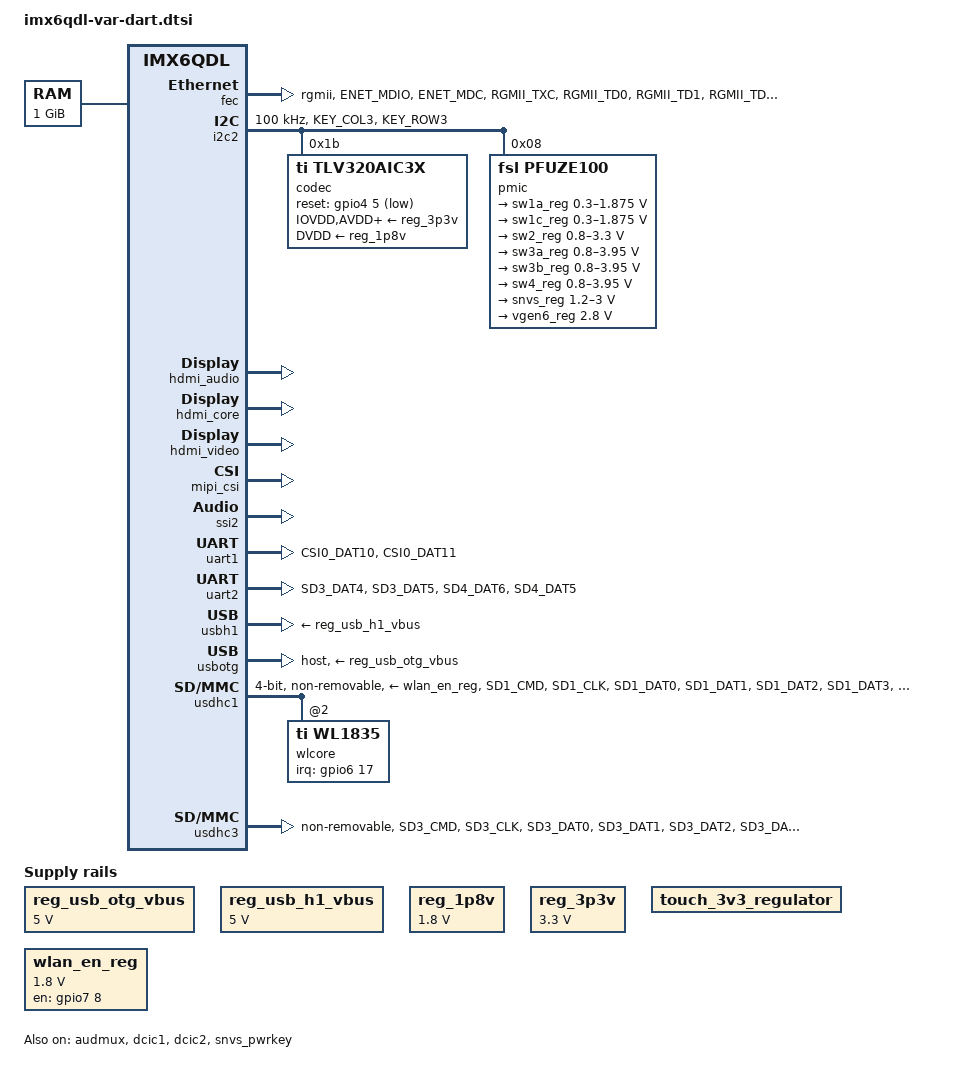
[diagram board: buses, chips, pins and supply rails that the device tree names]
/*
 * Copyright (C) 2015-2017 Variscite Ltd.
 *
 * This program is free software; you can redistribute it and/or modify
 * it under the terms of the GNU General Public License version 2 as
 * published by the Free Software Foundation.
 */

#include <dt-bindings/gpio/gpio.h>
#include <dt-bindings/input/input.h>
#include <dt-bindings/sound/fsl-imx-audmux.h>

/ {
	aliases {
		mxcfb0 = &mxcfb1;
		mxcfb1 = &mxcfb2;
		mxcfb2 = &mxcfb3;
		mxcfb3 = &mxcfb4;
	};

	memory {
		reg = <0x10000000 0x40000000>;
	};

	regulators {
		compatible = "simple-bus";
		#address-cells = <1>;
		#size-cells = <0>;

		reg_usb_otg_vbus: regulator@0 {
			compatible = "regulator-fixed";
			reg = <0>;
			regulator-name = "usb_otg_vbus";
			regulator-min-microvolt = <5000000>;
			regulator-max-microvolt = <5000000>;
			enable-active-high;
		};

		reg_usb_h1_vbus: regulator@1 {
			compatible = "regulator-fixed";
			reg = <1>;
			regulator-name = "usb_h1_vbus";
			regulator-min-microvolt = <5000000>;
			regulator-max-microvolt = <5000000>;
			enable-active-high;
		};

		reg_1p8v: regulator@2 {
			compatible = "regulator-fixed";
			regulator-name = "1P8V";
			regulator-min-microvolt = <1800000>;
			regulator-max-microvolt = <1800000>;
			regulator-always-on;
		};

		reg_3p3v: regulator@3 {
			compatible = "regulator-fixed";
			regulator-name = "3P3V";
			regulator-min-microvolt = <3300000>;
			regulator-max-microvolt = <3300000>;
			regulator-always-on;
		};

		touch_3v3_regulator: touch_3v3_regulator {
			compatible = "regulator-fixed";
			regulator-name = "touch_3v3_supply";
			regulator-always-on;
			status = "okay";
		};
	};

	wlan_en_reg: fixedregulator@2 {
		compatible = "regulator-fixed";
		pinctrl-names = "default";
		pinctrl-0 = <&pinctrl_wlan_en>;
		regulator-name = "wlan-en-regulator";
		regulator-min-microvolt = <1800000>;
		regulator-max-microvolt = <1800000>;

		/* WLAN_EN GPIO for this board - Bank5, pin13 */
		gpio = <&gpio7 8 0>;

		/* WLAN card specific delay */
		startup-delay-us = <70000>;
		enable-active-high;
	};

	sound {
		compatible = "simple-audio-card";
		simple-audio-card,name = "tlv320aic3x-audio";
		simple-audio-card,format = "i2s";
		simple-audio-card,bitclock-master = <&sound_codec>;
		simple-audio-card,frame-master = <&sound_codec>;
		simple-audio-card,widgets = "Headphone", "Headphone Jack",
					    "Line", "Line In Jack",
					    "Microphone", "DMic";
		simple-audio-card,routing = "Headphone Jack", "HPLOUT",
					    "Headphone Jack", "HPROUT",
					    "LINE1L", "Line In Jack",
					    "LINE1R", "Line In Jack",
					    "DMIC", "DMic";

		sound_cpu: simple-audio-card,cpu {
			sound-dai = <&ssi2>;
		};

		sound_codec: simple-audio-card,codec {
			sound-dai = <&codec>;
			clocks = <&clks IMX6QDL_CLK_CKO>;
		};
	};

	sound-hdmi {
		compatible = "fsl,imx6q-audio-hdmi",
			     "fsl,imx-audio-hdmi";
		model = "imx-audio-hdmi";
		hdmi-controller = <&hdmi_audio>;
	};

	mxcfb1: fb@0 {
		compatible = "fsl,mxc_sdc_fb";
		disp_dev = "ldb";
		default_bpp = <16>;
		int_clk = <0>;
		late_init = <0>;
		status = "disabled";
	};

	mxcfb2: fb@1 {
		compatible = "fsl,mxc_sdc_fb";
		disp_dev = "hdmi";
		interface_pix_fmt = "RGB24";
		mode_str ="1920x1080M@60";
		default_bpp = <24>;
		int_clk = <0>;
		late_init = <0>;
		status = "disabled";
	};

	mxcfb3: fb@2 {
		compatible = "fsl,mxc_sdc_fb";
		disp_dev = "lcd";
		interface_pix_fmt = "RGB565";
		mode_str ="CLAA-WVGA";
		default_bpp = <16>;
		int_clk = <0>;
		late_init = <0>;
		status = "disabled";
	};

	mxcfb4: fb@3 {
		compatible = "fsl,mxc_sdc_fb";
		disp_dev = "ldb";
		interface_pix_fmt = "RGB666";
		default_bpp = <16>;
		int_clk = <0>;
		late_init = <0>;
		status = "disabled";
	};

	lcd@0 {
		compatible = "fsl,lcd";
		ipu_id = <0>;
		disp_id = <0>;
		default_ifmt = "RGB565";
		pinctrl-names = "default";
		pinctrl-0 = <&pinctrl_ipu1>;
		status = "disabled";
	};

	v4l2_cap_0 {
		compatible = "fsl,imx6q-v4l2-capture";
		ipu_id = <0>;
		csi_id = <1>;
		mclk_source = <0>;
		status = "okay";
	};

	v4l2_out {
		compatible = "fsl,mxc_v4l2_output";
		status = "okay";
	};
};

&audmux {
	pinctrl-names = "default";
	pinctrl-0 = <&pinctrl_audmux_2>;
	status = "okay";

	ssi2 {
		fsl,audmux-port = <1>;
		fsl,port-config = <
			(IMX_AUDMUX_V2_PTCR_SYN |
			IMX_AUDMUX_V2_PTCR_TFSDIR |
			IMX_AUDMUX_V2_PTCR_TFSEL(2) |
			IMX_AUDMUX_V2_PTCR_TCLKDIR |
			IMX_AUDMUX_V2_PTCR_TCSEL(2))
			IMX_AUDMUX_V2_PDCR_RXDSEL(2)
		>;
	};

	aud3 {
		fsl,audmux-port = <2>;
		fsl,port-config = <
			IMX_AUDMUX_V2_PTCR_SYN
			IMX_AUDMUX_V2_PDCR_RXDSEL(1)
		>;
	};
};

&reg_arm {
	vin-supply = <&sw1a_reg>;
};

&reg_pu {
	vin-supply = <&sw1c_reg>;
};

&reg_soc {
	vin-supply = <&sw1c_reg>;
};

&fec {
	pinctrl-names = "default";
	pinctrl-0 = <&pinctrl_enet_4>;
	phy-mode = "rgmii";
	phy-reset-gpios = <&gpio1 25 0>;
	fsl,magic-packet;
	status = "okay";
};

&i2c2 {
	clock-frequency = <100000>;
	pinctrl-names = "default";
	pinctrl-0 = <&pinctrl_i2c2_2>;
	status = "okay";

	codec: tlv320aic3x@1b {
		compatible = "ti,tlv320aic3x";
		reg = <0x1b>;
		#sound-dai-cells = <0>;
		pinctrl-names = "default";
		pinctrl-0 = <&pinctrl_tlv320aic3x>;
		IOVDD-supply = <&reg_3p3v>;
		DVDD-supply = <&reg_1p8v>;
		AVDD-supply = <&reg_3p3v>;
		DRVDD-supply = <&reg_3p3v>;
		reset-gpios = <&gpio4 5 GPIO_ACTIVE_LOW>;
		ai3x-gpio-func = <
			0 /* AIC3X_GPIO1_FUNC_DISABLED */
			5 /* AIC3X_GPIO2_FUNC_DIGITAL_MIC_INPUT */
		>;
	};

	pmic: pfuze100@8 {
		compatible = "fsl,pfuze100";
		reg = <0x08>;
		pinctrl-names = "default";
		pinctrl-0 = <&pinctrl_pfuze100>;

		regulators {
			sw1a_reg: sw1ab {
				regulator-min-microvolt = <300000>;
				regulator-max-microvolt = <1875000>;
				regulator-boot-on;
				regulator-always-on;
				regulator-ramp-delay = <6250>;
			};

			sw1c_reg: sw1c {
				regulator-min-microvolt = <300000>;
				regulator-max-microvolt = <1875000>;
				regulator-boot-on;
				regulator-always-on;
				regulator-ramp-delay = <6250>;
			};

			sw2_reg: sw2 {
				regulator-min-microvolt = <800000>;
				regulator-max-microvolt = <3300000>;
				regulator-boot-on;
				regulator-always-on;
			};

			sw3a_reg: sw3a {
				regulator-min-microvolt = <800000>;
				regulator-max-microvolt = <3950000>;
				regulator-boot-on;
				regulator-always-on;
			};

			sw3b_reg: sw3b {
				regulator-min-microvolt = <800000>;
				regulator-max-microvolt = <3950000>;
				regulator-boot-on;
				regulator-always-on;
			};

			sw4_reg: sw4 {
				regulator-min-microvolt = <800000>;
				regulator-max-microvolt = <3950000>;
			};

			snvs_reg: vsnvs {
				regulator-min-microvolt = <1200000>;
				regulator-max-microvolt = <3000000>;
				regulator-boot-on;
				regulator-always-on;
			};

			vref_reg: vrefddr {
				regulator-boot-on;
				regulator-always-on;
			};

			vgen6_reg: vgen6 {
				regulator-min-microvolt = <2800000>;
				regulator-max-microvolt = <2800000>;
				regulator-always-on;
				regulator-boot-on;
			};
		};
	};
};

&iomuxc {
	pinctrl-names = "default";
	pinctrl-0 = <&pinctrl_hog>;

	imx6qdl-var-som-mx6 {

		pinctrl_hog: hoggrp {
			fsl,pins = <
				/* for Bluetooth/wifi enable */
				MX6QDL_PAD_SD3_DAT6__GPIO6_IO18		0x1b0b1
			>;
		};

		pinctrl_audmux_2: audmux {
			fsl,pins = <
				MX6QDL_PAD_CSI0_DAT7__AUD3_RXD		0x130b0
				MX6QDL_PAD_CSI0_DAT4__AUD3_TXC		0x130b0
				MX6QDL_PAD_CSI0_DAT5__AUD3_TXD		0x110b0
				MX6QDL_PAD_CSI0_DAT6__AUD3_TXFS		0x130b0
			>;
		};

		pinctrl_enet_4: enetgrp {
			fsl,pins = <
				MX6QDL_PAD_ENET_MDIO__ENET_MDIO		0x1b0b0
				MX6QDL_PAD_ENET_MDC__ENET_MDC		0x1b0b0
				MX6QDL_PAD_RGMII_TXC__RGMII_TXC		0x1b0b0
				MX6QDL_PAD_RGMII_TD0__RGMII_TD0		0x1b0b0
				MX6QDL_PAD_RGMII_TD1__RGMII_TD1		0x1b0b0
				MX6QDL_PAD_RGMII_TD2__RGMII_TD2		0x1b0b0
				MX6QDL_PAD_RGMII_TD3__RGMII_TD3		0x1b0b0
				MX6QDL_PAD_RGMII_TX_CTL__RGMII_TX_CTL	0x1b0b0
				MX6QDL_PAD_ENET_REF_CLK__ENET_TX_CLK	0x1b0b0
				MX6QDL_PAD_RGMII_RXC__RGMII_RXC		0x1b0b0
				MX6QDL_PAD_RGMII_RD0__RGMII_RD0		0x1b0b0
				MX6QDL_PAD_RGMII_RD1__RGMII_RD1		0x1b0b0
				MX6QDL_PAD_RGMII_RD2__RGMII_RD2		0x1b0b0
				MX6QDL_PAD_RGMII_RD3__RGMII_RD3		0x1b0b0
				MX6QDL_PAD_RGMII_RX_CTL__RGMII_RX_CTL	0x1b0b0
				MX6QDL_PAD_ENET_CRS_DV__GPIO1_IO25	0x1b0b0
			>;
		};

		pinctrl_hdmi_hdcp: hdmihdcpgrp {
			fsl,pins = <
				MX6QDL_PAD_KEY_COL3__HDMI_TX_DDC_SCL	0x4001b8b1
				MX6QDL_PAD_KEY_ROW3__HDMI_TX_DDC_SDA	0x4001b8b1
			>;
		};

		pinctrl_i2c2_2: i2c2grp {
			fsl,pins = <
				MX6QDL_PAD_KEY_COL3__I2C2_SCL		0x4001b8b1
				MX6QDL_PAD_KEY_ROW3__I2C2_SDA		0x4001b8b1
			>;
		};

		pinctrl_ipu1: ipu1grp {
			fsl,pins = <
				MX6QDL_PAD_DI0_DISP_CLK__IPU1_DI0_DISP_CLK	0x10
				MX6QDL_PAD_DI0_PIN15__IPU1_DI0_PIN15		0x10
				MX6QDL_PAD_DI0_PIN2__IPU1_DI0_PIN02		0x10
				MX6QDL_PAD_DI0_PIN3__IPU1_DI0_PIN03		0x10
				MX6QDL_PAD_DI0_PIN4__IPU1_DI0_PIN04		0x80000000
				MX6QDL_PAD_DISP0_DAT0__IPU1_DISP0_DATA00	0x10
				MX6QDL_PAD_DISP0_DAT1__IPU1_DISP0_DATA01	0x10
				MX6QDL_PAD_DISP0_DAT2__IPU1_DISP0_DATA02	0x10
				MX6QDL_PAD_DISP0_DAT3__IPU1_DISP0_DATA03	0x10
				MX6QDL_PAD_DISP0_DAT4__IPU1_DISP0_DATA04	0x10
				MX6QDL_PAD_DISP0_DAT5__IPU1_DISP0_DATA05	0x10
				MX6QDL_PAD_DISP0_DAT6__IPU1_DISP0_DATA06	0x10
				MX6QDL_PAD_DISP0_DAT7__IPU1_DISP0_DATA07	0x10
				MX6QDL_PAD_DISP0_DAT8__IPU1_DISP0_DATA08	0x10
				MX6QDL_PAD_DISP0_DAT9__IPU1_DISP0_DATA09	0x10
				MX6QDL_PAD_DISP0_DAT10__IPU1_DISP0_DATA10	0x10
				MX6QDL_PAD_DISP0_DAT11__IPU1_DISP0_DATA11	0x10
				MX6QDL_PAD_DISP0_DAT12__IPU1_DISP0_DATA12	0x10
				MX6QDL_PAD_DISP0_DAT13__IPU1_DISP0_DATA13	0x10
				MX6QDL_PAD_DISP0_DAT14__IPU1_DISP0_DATA14	0x10
				MX6QDL_PAD_DISP0_DAT15__IPU1_DISP0_DATA15	0x10
				MX6QDL_PAD_DISP0_DAT16__IPU1_DISP0_DATA16	0x10
				MX6QDL_PAD_DISP0_DAT17__IPU1_DISP0_DATA17	0x10
				MX6QDL_PAD_DISP0_DAT18__IPU1_DISP0_DATA18	0x10
				MX6QDL_PAD_DISP0_DAT19__IPU1_DISP0_DATA19	0x10
				MX6QDL_PAD_DISP0_DAT20__IPU1_DISP0_DATA20	0x10
				MX6QDL_PAD_DISP0_DAT21__IPU1_DISP0_DATA21	0x10
				MX6QDL_PAD_DISP0_DAT22__IPU1_DISP0_DATA22	0x10
				MX6QDL_PAD_DISP0_DAT23__IPU1_DISP0_DATA23	0x10
			>;
		};

		pinctrl_pfuze100: pfuze100grp {
			fsl,pins = <
				/* PMIC INT */
				MX6QDL_PAD_GPIO_17__GPIO7_IO12		0x80000000
			>;
		};

		/* Linux Console */
		pinctrl_uart1_1: uart1grp-1 { /* RX/TX only */
			fsl,pins = <
				MX6QDL_PAD_CSI0_DAT10__UART1_TX_DATA	0x1b0b1
				MX6QDL_PAD_CSI0_DAT11__UART1_RX_DATA	0x1b0b1
			>;
		};

		/* Variscite Bluetooth */
		pinctrl_uart2_4: uart2grp-4 { /* RTS/CTS only mode */
			fsl,pins = <
				MX6QDL_PAD_SD3_DAT4__UART2_RX_DATA	0x1b0b1
				MX6QDL_PAD_SD3_DAT5__UART2_TX_DATA	0x1b0b1
				MX6QDL_PAD_SD4_DAT6__UART2_CTS_B	0x1b0b1
				MX6QDL_PAD_SD4_DAT5__UART2_RTS_B	0x1b0b1
			>;
		};

		pinctrl_usdhc1_1: usdhc1grp {
			fsl,pins = <
				MX6QDL_PAD_SD1_CMD__SD1_CMD		0x17071
				MX6QDL_PAD_SD1_CLK__SD1_CLK		0x10071
				MX6QDL_PAD_SD1_DAT0__SD1_DATA0		0x17071
				MX6QDL_PAD_SD1_DAT1__SD1_DATA1		0x17071
				MX6QDL_PAD_SD1_DAT2__SD1_DATA2		0x17071
				MX6QDL_PAD_SD1_DAT3__SD1_DATA3		0x17071
			>;
		};

		pinctrl_usdhc1_2_100mhz: usdhc1grp-2-100mhz {
			fsl,pins = <
				MX6QDL_PAD_SD1_CMD__SD1_CMD		0x170B9
				MX6QDL_PAD_SD1_CLK__SD1_CLK		0x100B9
				MX6QDL_PAD_SD1_DAT0__SD1_DATA0		0x170B9
				MX6QDL_PAD_SD1_DAT1__SD1_DATA1		0x170B9
				MX6QDL_PAD_SD1_DAT2__SD1_DATA2		0x170B9
				MX6QDL_PAD_SD1_DAT3__SD1_DATA3		0x170B9
			>;
		};

		pinctrl_usdhc1_2_200mhz: usdhc1grp-2-200mhz {
			fsl,pins = <
				MX6QDL_PAD_SD1_CMD__SD1_CMD		0x170F9
				MX6QDL_PAD_SD1_CLK__SD1_CLK		0x100F9
				MX6QDL_PAD_SD1_DAT0__SD1_DATA0		0x170F9
				MX6QDL_PAD_SD1_DAT1__SD1_DATA1		0x170F9
				MX6QDL_PAD_SD1_DAT2__SD1_DATA2		0x170F9
				MX6QDL_PAD_SD1_DAT3__SD1_DATA3		0x170F9
			>;
		};

		pinctrl_usdhc2_2: usdhc2grp {
			fsl,pins = <
				MX6QDL_PAD_SD2_CMD__SD2_CMD		0x17059
				MX6QDL_PAD_SD2_CLK__SD2_CLK		0x10059
				MX6QDL_PAD_SD2_DAT0__SD2_DATA0		0x17059
				MX6QDL_PAD_SD2_DAT1__SD2_DATA1		0x17059
				MX6QDL_PAD_SD2_DAT2__SD2_DATA2		0x17059
				MX6QDL_PAD_SD2_DAT3__SD2_DATA3		0x17059
			>;
		};

		pinctrl_usdhc3_2: usdhc3grp {
			fsl,pins = <
				MX6QDL_PAD_SD3_CMD__SD3_CMD		0x17059
				MX6QDL_PAD_SD3_CLK__SD3_CLK		0x10059
				MX6QDL_PAD_SD3_DAT0__SD3_DATA0		0x17059
				MX6QDL_PAD_SD3_DAT1__SD3_DATA1		0x17059
				MX6QDL_PAD_SD3_DAT2__SD3_DATA2		0x17059
				MX6QDL_PAD_SD3_DAT3__SD3_DATA3		0x17059
			>;
		};

		pinctrl_usdhc3_2_100mhz: usdhc3grp-100mhz {
			fsl,pins = <
				MX6QDL_PAD_SD3_CMD__SD3_CMD		0x170B9
				MX6QDL_PAD_SD3_CLK__SD3_CLK		0x100B9
				MX6QDL_PAD_SD3_DAT0__SD3_DATA0		0x170B9
				MX6QDL_PAD_SD3_DAT1__SD3_DATA1		0x170B9
				MX6QDL_PAD_SD3_DAT2__SD3_DATA2		0x170B9
				MX6QDL_PAD_SD3_DAT3__SD3_DATA3		0x170B9
			>;
		};

		pinctrl_usdhc3_2_200mhz: usdhc3grp-200mhz {
			fsl,pins = <
				MX6QDL_PAD_SD3_CMD__SD3_CMD		0x170F9
				MX6QDL_PAD_SD3_CLK__SD3_CLK		0x100F9
				MX6QDL_PAD_SD3_DAT0__SD3_DATA0		0x170F9
				MX6QDL_PAD_SD3_DAT1__SD3_DATA1		0x170F9
				MX6QDL_PAD_SD3_DAT2__SD3_DATA2		0x170F9
				MX6QDL_PAD_SD3_DAT3__SD3_DATA3		0x170F9
			>;
		};

		pinctrl_usdhc3_3: usdhc3grp-3 {
			fsl,pins = <
				MX6QDL_PAD_SD3_CMD__SD3_CMD		0x17059
				MX6QDL_PAD_SD3_CLK__SD3_CLK		0x10059
				MX6QDL_PAD_SD3_DAT0__SD3_DATA0		0x17059
				MX6QDL_PAD_SD3_DAT1__SD3_DATA1		0x17059
				MX6QDL_PAD_SD3_DAT2__SD3_DATA2		0x17059
				MX6QDL_PAD_SD3_DAT3__SD3_DATA3		0x17059
			>;
		};

		pinctrl_tlv320aic3x: tlv320aic3xgrp {
			fsl,pins = <
				/* Audio Clock */
				MX6QDL_PAD_GPIO_0__CCM_CLKO1		0x130b0
				/* Audio reset */
				MX6QDL_PAD_GPIO_19__GPIO4_IO05		0x80000000
			>;
		};

		pinctrl_wlan_en: wlanengrp {
			fsl,pins = <
				/* for wifi enable */
				MX6QDL_PAD_SD3_RST__GPIO7_IO08		0x17071
			>;
		};

		pinctrl_wlan_misc: wlanmicsgrp {
			fsl,pins = <
				/* for wifi irq */
				MX6QDL_PAD_SD3_DAT7__GPIO6_IO17		0x17071
				/* Wifi Slow Clock */
				MX6QDL_PAD_ENET_RXD0__OSC32K_32K_OUT	0x000b0
			>;
		};
	};
};

&dcic1 {
	dcic_id = <0>;
	dcic_mux = "dcic-hdmi";
	status = "okay";
};

&dcic2 {
	dcic_id = <1>;
	dcic_mux = "dcic-lvds1";
	status = "okay";
};

&gpc {
	/* use ldo-bypass, u-boot will check it and configure */
	fsl,ldo-bypass = <1>;
};

&hdmi_audio {
	status = "okay";
};

&hdmi_core {
	ipu_id = <0>;
	disp_id = <0>;
	status = "okay";
};

&hdmi_video {
	fsl,phy_reg_vlev = <0x0294>;
	fsl,phy_reg_cksymtx = <0x800d>;
	status = "okay";
};

&mipi_csi {
	status = "okay";
	ipu_id = <0>;
	csi_id = <1>;
	v_channel = <0>;
	lanes = <2>;
};


&ssi2 {
	status = "okay";
};

/* Console Uart */
&uart1 {
	pinctrl-names = "default";
	pinctrl-0 = <&pinctrl_uart1_1>;
	status = "okay";
};


/* Bluetooth Uart */
&uart2 {
	pinctrl-names = "default";
	pinctrl-0 = <&pinctrl_uart2_4>;
	uart-has-rtscts;
	status = "okay";
};

&usbh1 {
	vbus-supply = <&reg_usb_h1_vbus>;
	status = "okay";
};

&usbotg {
	vbus-supply = <&reg_usb_otg_vbus>;
	disable-over-current;
	/* dr_mode: One of "host", "peripheral" or "otg". Defaults to "otg" */
	dr_mode = "host";
	srp-disable;
	hnp-disable;
	adp-disable;
	status = "okay";
};

&usdhc1 {	/* uSDHC1, TiWi wl1271 7 Wilink8 WL18xx*/
	pinctrl-names = "default", "state_100mhz", "state_200mhz";
	pinctrl-0 = <&pinctrl_usdhc1_1>, <&pinctrl_wlan_misc>;
	pinctrl-1 = <&pinctrl_usdhc1_2_100mhz>, <&pinctrl_wlan_misc>;
	pinctrl-2 = <&pinctrl_usdhc1_2_200mhz>, <&pinctrl_wlan_misc>;
	keep-power-in-suspend;
	enable-sdio-wakeup;
	vmmc-supply = <&wlan_en_reg>;
	bus-width = <4>;
	non-removable;
	cap-power-off-card;
	status = "okay";
	#address-cells = <1>;
	#size-cells = <0>;
	wlcore: wlcore@0 {
		compatible = "ti,wl1835";
		reg = <2>;
		interrupt-parent = <&gpio6>;
		interrupts = <17 IRQ_TYPE_EDGE_RISING>;

		/* if a 12xx card is there, configure the clock to WL12XX_REFCLOCK_38_XTAL */
		ref-clock-frequency = <38400000>;
	};
};

&usdhc3 {	/* uSDHC3, eMMC */
	pinctrl-names = "default";
	pinctrl-0 = <&pinctrl_usdhc3_3>;
	non-removable;
	keep-power-in-suspend;
	enable-sdio-wakeup;
	status = "okay";
};

&snvs_pwrkey {
	status = "okay";
};

&snvs_poweroff {
	status = "okay";
};
